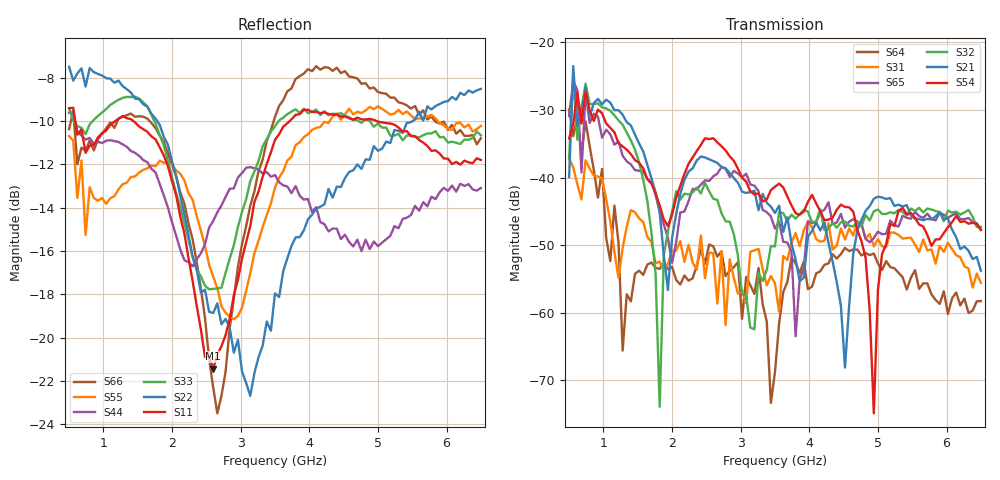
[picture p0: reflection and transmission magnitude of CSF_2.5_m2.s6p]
!Keysight Technologies,M9804A,MY58100912,A.14.10.03
!Date: Thursday, April 27, 2023 10:28:33
!Correction: S11(C  6-Port  )
!S12(C  6-Port  )
!S13(C  6-Port  )
!S14(C  6-Port  )
!S15(C  6-Port  )
!S16(C  6-Port  )
!S21(C  6-Port  )
!S22(C  6-Port  )
!S23(C  6-Port  )
!S24(C  6-Port  )
!S25(C  6-Port  )
!S26(C  6-Port  )
!S31(C  6-Port  )
!S32(C  6-Port  )
!S33(C  6-Port  )
!S34(C  6-Port  )
!S35(C  6-Port  )
!S36(C  6-Port  )
!S41(C  6-Port  )
!S42(C  6-Port  )
!S43(C  6-Port  )
!S44(C  6-Port  )
!S45(C  6-Port  )
!S46(C  6-Port  )
!S51(C  6-Port  )
!S52(C  6-Port  )
!S53(C  6-Port  )
!S54(C  6-Port  )
!S55(C  6-Port  )
!S56(C  6-Port  )
!S61(C  6-Port  )
!S62(C  6-Port  )
!S63(C  6-Port  )
!S64(C  6-Port  )
!S65(C  6-Port  )
!S66(C  6-Port  )
!S6P File: Measurement: :
# Hz S  RI  R 50
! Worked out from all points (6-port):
!   101 points, 500 MHz to 6.5 GHz, reference 50 ohm
!   strongest paths, dB at 500 MHz, 2 GHz, 3.5 GHz, 5 GHz, 6.5 GHz:
!     S54: -34.2, -45.5, -41.3, -56.6, -47.7
!     S21: -39.9, -48.9, -45.2, -42.8, -53.8
!     S32: -37.1, -45.0, -50.2, -44.7, -47.3
!     S65: -30.9, -52.6, -47.5, -48.0, -47.7
!     S31: -37.1, -50.8, -55.6, -49.1, -55.5
!     S64: -29.9, -53.2, -68.7, -52.7, -58.3
!   lowest |S11| = -21.4 dB at 2.6 GHz (marker M1), VSWR 1.19, Z = 42.5 + j2.2 ohm
!   |S11| at or under -10 dB: 589.7 MHz to 1.173 GHz (583 MHz wide, 66.2 % of centre); 1.436 GHz to 3.714 GHz (2.279 GHz wide, 88.5 % of centre); 4.98 GHz to end of sweep
